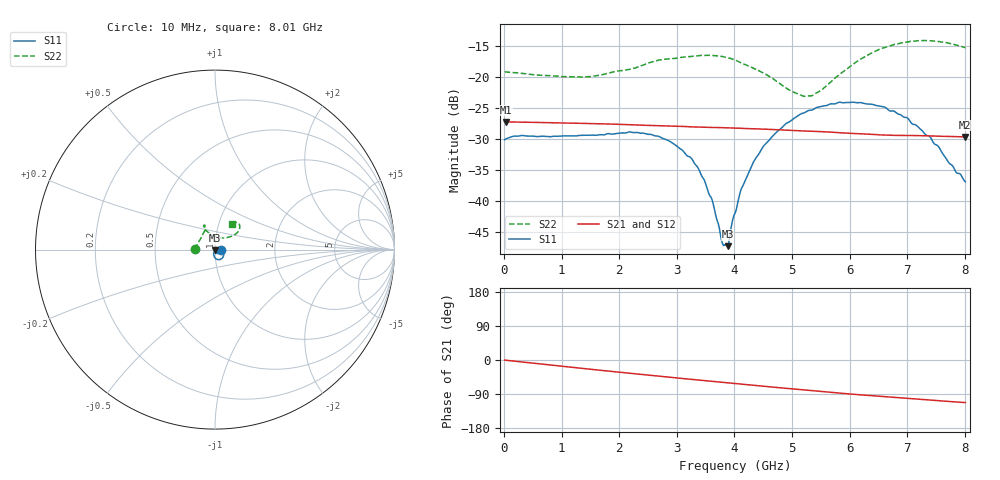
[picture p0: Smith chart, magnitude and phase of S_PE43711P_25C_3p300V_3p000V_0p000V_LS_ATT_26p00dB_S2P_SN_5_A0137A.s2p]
! Device ID: PE43711P
! File Path: z:\PE43711P\CHAR_NOM_04282014\AMB\3p300\LS_ATT_26p00dB\PE43711P_AMB_3p300V_3p000V_0p000V_LS_ATT_26p00dB_S2P_SN_5_A0137A.s2p
! Serial: 5
! Lot: A0137A
! Temp: 25C
! VDD: 3.300
! VSS: 0.000
! Control_Hi: 3.000
! Control_Lo: 0.000
! Attenuation Step: 26.00dB
! Port 1: RF1
! Port 2: RF2
! ThroughPath:1-2
! IDD: 0.0001274523
! ISS: -1.445e-007
#  Hz  S  RI  R  50
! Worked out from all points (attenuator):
!   801 points, 10 MHz to 8.01 GHz, reference 50 ohm
!   highest |S21| = -27.24 dB at 40 MHz (marker M1); lowest = -29.7 dB at 8 GHz (marker M2)
!   lowest |S11| = -47.3 dB at 3.88 GHz (marker M3), VSWR 1.01, Z = 50.2 - j0.398 ohm
!   |S11| at or under -10 dB: start of sweep to end of sweep
!   |S22| runs from -23.1 to -14.1 dB; largest |S21 - S12| = 0.00012
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1e7  0.0311 0.000444  0.0434 -0.000151  0.0435 -0.000195  -0.1103 0.000861
4e7  0.0318 0.000739  0.0434 -0.000519  0.0435 -0.000534  -0.1096 0.0025
1.35e9  0.0338 -0.00118  0.0392 -0.0159  0.0392 -0.0159  -0.0836 0.0546
2.19e9  0.036 0.00117  0.0337 -0.0238  0.0337 -0.0238  -0.0602 0.0984
2.68e9  0.0329 0.00444  0.0299 -0.0273  0.0299 -0.0273  -0.0558 0.1245
3.06e9  0.0257 0.00572  0.0266 -0.0299  0.0267 -0.0299  -0.0558 0.1322
3.35e9  0.0185 0.00474  0.0241 -0.0313  0.0241 -0.0312  -0.0574 0.1362
3.61e9  0.0102 0.00125  0.0219 -0.0325  0.0219 -0.0325  -0.0611 0.1356
3.79e9  0.00409 -0.00206  0.0204 -0.0333  0.0204 -0.0333  -0.0632 0.1318
3.88e9  0.00173 -0.00397  0.0195 -0.0337  0.0195 -0.0337  -0.0632 0.1283
4.01e9  -0.00139 -0.00784  0.0182 -0.0342  0.0182 -0.0342  -0.0621 0.1218
4.15e9  -0.00399 -0.0128  0.0168 -0.0346  0.0169 -0.0346  -0.0573 0.1144
4.34e9  -0.00706 -0.0197  0.0151 -0.0351  0.0151 -0.0351  -0.0494 0.1061
4.51e9  -0.00744 -0.0269  0.0135 -0.0355  0.0135 -0.0355  -0.041 0.099
4.9e9  -0.00288 -0.0421  0.00978 -0.0359  0.00975 -0.0359  -0.015 0.0797
5.35e9  0.0102 -0.0533  0.00582 -0.036  0.00586 -0.0361  0.0271 0.0654
6.05e9  0.0378 -0.0499  -0.000132 -0.0351  -0.000169 -0.0351  0.0994 0.0769
6.68e9  0.0474 -0.0256  -0.00435 -0.0337  -0.00434 -0.0337  0.1355 0.1144
7e9  0.0447 -0.0141  -0.00631 -0.0332  -0.00629 -0.0332  0.1382 0.1325
7.39e9  0.033 -0.00279  -0.00899 -0.0322  -0.00894 -0.0323  0.1265 0.1501
8e9  0.0144 -0.00122  -0.0125 -0.0304  -0.0126 -0.0304  0.0941 0.1448
8.01e9  0.0142 -0.00143  -0.0125 -0.0304  -0.0126 -0.0304  0.0935 0.1443
